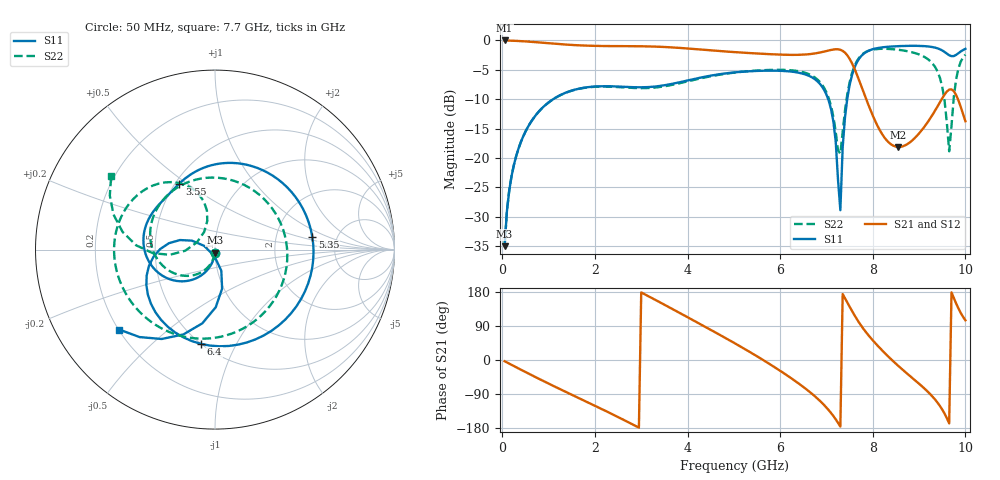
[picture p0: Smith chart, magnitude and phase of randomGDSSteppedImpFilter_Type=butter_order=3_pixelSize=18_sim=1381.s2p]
! freq	dB(S11)	phase(S11)	dB(S12)	phase(S12)
!  dB(S21)	phase(S21)	dB(S22)	phase(S22)
!S-par simulation data
#  GHz  S  DB  R 50
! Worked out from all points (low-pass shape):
!   200 points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, 50 MHz to 10 GHz, reference 50 ohm
!   highest |S21| = -0.01 dB at 50 MHz (marker M1); lowest = -18.1 dB at 8.55 GHz (marker M2)
!   |S21| within 3 dB of the highest: start of sweep to 7.49 GHz
!   lowest |S11| = -35.0 dB at 50 MHz (marker M3), VSWR 1.04, Z = 49.9 - j1.77 ohm
!   |S11| at or under -10 dB: start of sweep to 1.099 GHz; 7.036 GHz to 7.448 GHz (411.5 MHz wide, 5.68 % of centre)
!   |S22| runs from -35.0 to -1.4 dB; largest |S21 - S12| = 0
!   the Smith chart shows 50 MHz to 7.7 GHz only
!   S11 on the Smith chart (normalised r, x): 50 MHz: 1.00, -0.04; 3.55 GHz: 0.52, +0.47; 5.35 GHz: 3.26, +0.67; 6.4 GHz: 0.50, -0.73; 7.7 GHz: 0.20, -0.35
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0.05  -35.03 -92.7  -0.01 -3.2  -0.01 -3.2  -35.03 -93.4
0.2  -23.10 -101.6  -0.05 -12.8  -0.05 -12.8  -23.11 -104.3
0.5  -15.53 -118.9  -0.17 -31.7  -0.17 -31.7  -15.54 -125.5
1.75  -8.07 179.0  -0.87 -106.2  -0.87 -106.2  -8.11 147.6
2.65  -7.91 145.4  -0.97 -159.7  -0.97 -159.7  -8.02 74.5
3.4  -7.76 123.3  -1.08 152.5  -1.08 152.5  -7.93 1.1
3.55  -7.57 118.3  -1.14 142.7  -1.14 142.7  -7.75 -13.6
4.3  -6.30 84.3  -1.56 93.0  -1.56 93.0  -6.43 -78.6
5.05  -5.42 32.9  -2.01 42.1  -2.01 42.1  -5.44 -128.5
5.35  -5.24 7.6  -2.16 20.8  -2.16 20.8  -5.21 -145.7
6.4  -5.50 -98.5  -2.45 -62.0  -2.45 -62.0  -5.25 154.9
6.7  -6.35 -133.6  -2.28 -90.5  -2.28 -90.5  -6.06 134.3
7.1  -11.74 172.1  -1.62 -140.0  -1.62 -140.0  -11.19 103.1
7.3  -28.91 -95.8  -1.60 -175.6  -1.60 -175.6  -19.28 158.3
7.45  -9.87 -89.3  -2.53 151.9  -2.53 151.9  -9.18 -176.7
7.7  -3.16 -140.1  -6.68 99.4  -6.68 99.4  -3.00 144.9
8.35  -1.07 136.6  -17.41 7.3  -17.41 7.3  -1.45 66.0
8.55  -0.97 118.1  -18.14 -15.4  -18.14 -15.4  -1.59 45.1
9.3  -1.15 58.5  -12.54 -97.9  -12.54 -97.9  -4.02 -40.8
9.65  -2.52 38.0  -8.38 -167.2  -8.38 -167.2  -18.88 -40.8
9.8  -2.46 37.3  -9.30 149.2  -9.30 149.2  -6.61 -1.9
10  -1.44 28.5  -13.76 104.8  -13.76 104.8  -2.42 -42.1
